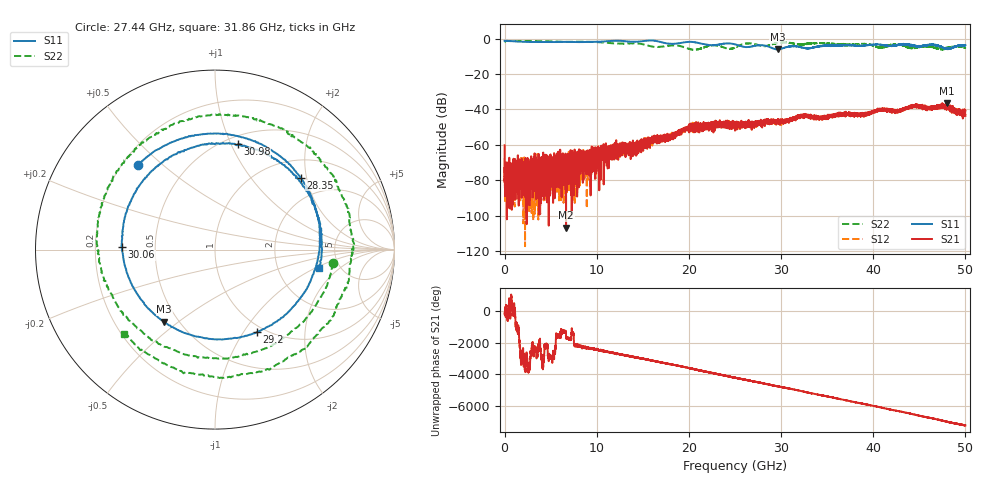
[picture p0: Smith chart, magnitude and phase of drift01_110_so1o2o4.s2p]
!Created with skrf (http://scikit-rf.org).
# Hz S RI R 50.0
!freq ReS11 ImS11 ReS21 ImS21 ReS12 ImS12 ReS22 ImS22
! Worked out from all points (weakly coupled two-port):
!   10001 points, 300 kHz to 50 GHz, reference 50 ohm
!   highest |S21| = -36.42 dB at 47.97 GHz (marker M1); lowest = -106.8 dB at 6.67 GHz (marker M2)
!   lowest |S11| = -6.2 dB at 29.64 GHz (marker M3), VSWR 2.93, Z = 21 - j22.2 ohm
!   |S11| at or under -10 dB: nowhere
!   |S22| runs from -6.4 to -1.4 dB; largest |S21 - S12| = 0.0043
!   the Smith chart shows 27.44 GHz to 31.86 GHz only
!   S11 on the Smith chart (normalised r, x): 27.44 GHz: 0.26, +0.42; 28.35 GHz: 1.41, +1.84; 29.2 GHz: 0.92, -1.15; 30.06 GHz: 0.32, +0.01; 30.98 GHz: 0.58, +1.06; 31.86 GHz: 3.51, -1.09
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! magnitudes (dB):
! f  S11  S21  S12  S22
! 300 kHz  -1.3  -60.3  -67.7  -2.1
! 250.3 MHz  -1.4  -76.3  -71.5  -1.4
! 430.3 MHz  -1.4  -75.8  -71.7  -1.4
! 6.67 GHz  -1.9  -106.8  -73.8  -1.9
! 7.32 GHz  -2.0  -90.6  -73.8  -1.9
! 8.335 GHz  -2.0  -68.0  -63.9  -1.8
! 16.67 GHz  -1.6  -57.2  -57.2  -4.8
! 20.32 GHz  -1.9  -51.3  -49.5  -6.1
! 22.62 GHz  -3.8  -48.5  -49.2  -3.8
! 25 GHz  -3.3  -49.7  -48.9  -5.1
! 27.44 GHz  -3.9  -47.8  -48.5  -3.6
! 28.35 GHz  -4.1  -46.5  -47.2  -4.2
! 29.2 GHz  -5.7  -47.5  -47.5  -3.0
! 29.64 GHz  -6.2  -46.7  -47.0  -2.5
! 30.06 GHz  -5.7  -46.8  -46.0  -2.4
! 30.98 GHz  -4.4  -45.9  -46.6  -2.4
! 31.86 GHz  -4.6  -44.7  -44.9  -3.2
! 33.34 GHz  -5.2  -43.9  -44.2  -2.7
! 41.67 GHz  -4.3  -40.3  -40.5  -4.2
! 46.49 GHz  -3.7  -38.6  -38.4  -5.2
! 47.97 GHz  -6.0  -36.4  -38.5  -5.5
! 50 GHz  -3.9  -43.7  -41.4  -5.4
